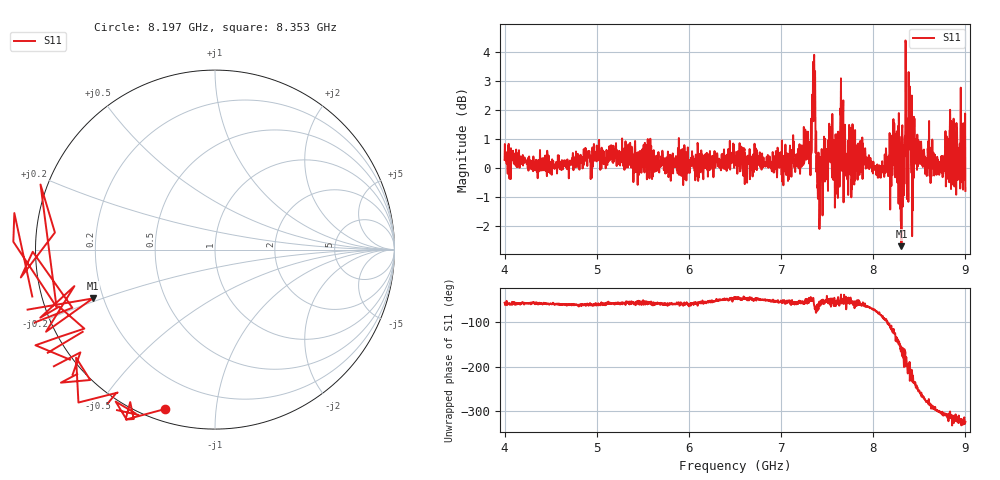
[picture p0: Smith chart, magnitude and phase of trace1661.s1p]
! Created with skrf 1.8.0 (http://scikit-rf.org).
# Hz S RI R 50.0
!freq ReS11 ImS11
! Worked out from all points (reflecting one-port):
!   1601 points, 4 GHz to 9 GHz, reference 50 ohm
!   lowest |S11| = -2.7 dB at 8.306 GHz (marker M1), VSWR 6.51, Z = 7.96 - j9.39 ohm
!   phase of S11 starts at -56 deg and turns -267 deg over the sweep
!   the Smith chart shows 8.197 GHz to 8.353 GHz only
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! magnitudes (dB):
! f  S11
! 4 GHz  0.3
! 4.625 GHz  0.1
! 5.25 GHz  0.1
! 5.875 GHz  0.1
! 6.5 GHz  0.4
! 7.125 GHz  0.4
! 7.309 GHz  0.3
! 7.356 GHz  3.7
! 7.372 GHz  1.8
! 7.397 GHz  -0.6
! 7.409 GHz  -0.7
! 7.538 GHz  1.4
! 7.591 GHz  1.2
! 7.669 GHz  1.6
! 7.703 GHz  -0.3
! 7.75 GHz  -0.2
! 8.097 GHz  0.2
! 8.244 GHz  -0.2
! 8.306 GHz  -2.7
! 8.322 GHz  -1.3
! 8.334 GHz  0.3
! 8.375 GHz  1.1
! 8.447 GHz  1.7
! 8.466 GHz  0.3
! 8.734 GHz  0.2
! 8.834 GHz  2.0
! 8.972 GHz  0.4
! 9 GHz  -0.8
